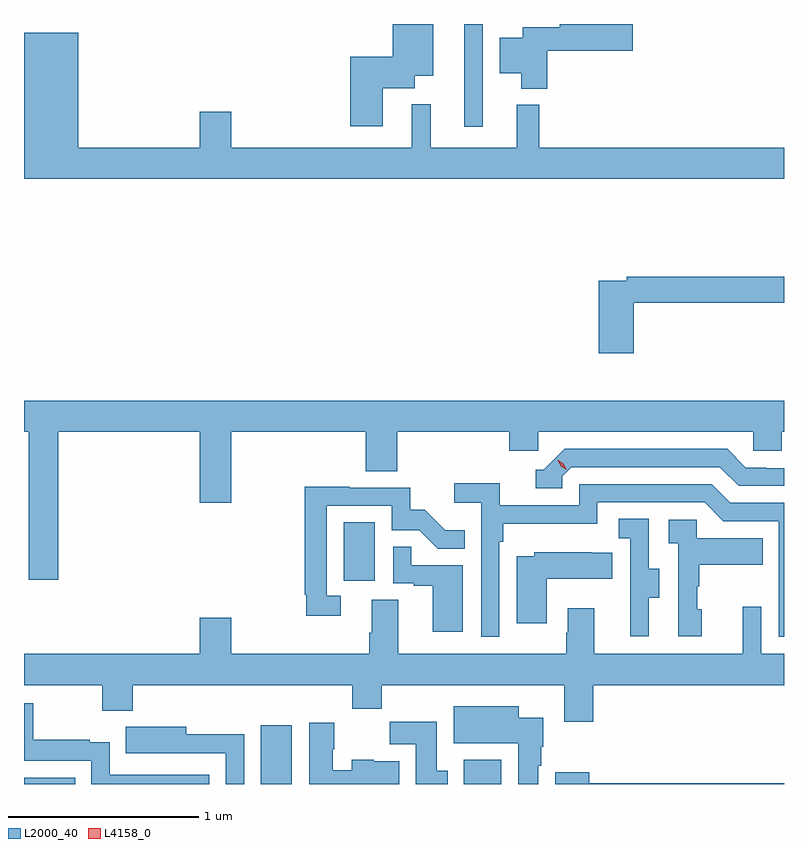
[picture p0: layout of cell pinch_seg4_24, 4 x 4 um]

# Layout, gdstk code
import gdstk
lib = gdstk.Library(unit=1e-6, precision=1e-09)
def R(c, l, rs):  # rectangles x0, y0, x1, y1
    for r in rs: c.add(gdstk.rectangle(r[:2], r[2:], *l))
def P(c, l, *ps):  # polygons
    for p in ps: c.add(gdstk.Polygon(p, *l))
L2000_40 = (2000, 40)
L4158_0 = (4158, 0)

pinch_seg4_24 = lib.new_cell('pinch_seg4_24')
R(pinch_seg4_24, L2000_40, [(1087.158,813.615,1087.427,813.648), (1088.405,813.615,1088.566,813.925), (1089.473,813.615,1089.67,813.742), (1088.84,814.686,1089.004,814.993), (1089.476,817.074,1089.573,817.615)])
P(pinch_seg4_24, L2000_40, [(1089.046,817.277),(1089.214,817.277),(1089.214,817.343),(1089.313,817.343),(1089.313,817.615),(1089.098,817.615),(1089.098,817.442),(1088.876,817.442),(1088.876,817.077),(1089.046,817.077)],
  [(1089.911,817.475),(1090.363,817.475),(1090.363,817.615),(1089.978,817.615),(1089.978,817.597),(1089.782,817.597),(1089.782,817.543),(1089.662,817.543),(1089.662,817.355),(1089.776,817.355),(1089.776,817.274),(1089.911,817.274)],
  [(1091.158,816.964),(1089.869,816.964),(1089.869,817.189),(1089.752,817.189),(1089.752,816.964),(1089.299,816.964),(1089.299,817.192),(1089.2,817.192),(1089.2,816.964),(1088.248,816.964),(1088.248,817.153),(1088.084,817.153),(1088.084,816.964),(1087.444,816.964),(1087.444,817.57),(1087.158,817.57),(1087.158,816.8),(1091.158,816.8)],
  [(1090.367,816.148),(1091.158,816.148),(1091.158,816.284),(1090.33,816.284),(1090.33,816.264),(1090.184,816.264),(1090.184,815.883),(1090.367,815.883)],
  [(1087.337,815.468),(1088.084,815.468),(1088.084,815.094),(1088.248,815.094),(1088.248,815.468),(1088.957,815.468),(1088.957,815.26),(1089.122,815.26),(1089.122,815.468),(1089.713,815.468),(1089.713,815.37),(1089.864,815.37),(1089.864,815.468),(1090.995,815.468),(1090.995,815.37),(1091.145,815.37),(1091.145,815.468),(1091.158,815.468),(1091.158,815.632),(1087.158,815.632),(1087.158,815.468),(1087.184,815.468),(1087.184,814.689),(1087.337,814.689)],
  [(1089.99,815.235),(1090.038,815.283),(1090.821,815.283),(1090.92,815.184),(1091.158,815.184),(1091.158,815.277),(1091.064,815.277),(1091.064,815.28),(1090.957,815.28),(1090.858,815.379),(1090.005,815.379),(1089.894,815.268),(1089.851,815.268),(1089.851,815.172),(1089.99,815.172)],
  [(1089.66,814.889),(1089.68,814.889),(1089.68,814.985),(1090.176,814.985),(1090.176,815.097),(1090.74,815.097),(1090.839,814.998),(1091.13,814.998),(1091.13,814.389),(1091.158,814.389),(1091.158,815.094),(1090.876,815.094),(1090.777,815.193),(1090.08,815.193),(1090.08,815.082),(1089.662,815.082),(1089.662,815.198),(1089.423,815.198),(1089.423,815.096),(1089.564,815.096),(1089.564,814.389),(1089.66,814.389)],
  [(1088.824,814.605),(1088.751,814.605),(1088.751,815.079),(1089.093,815.079),(1089.093,814.95),(1089.237,814.95),(1089.335,814.852),(1089.479,814.852),(1089.479,814.951),(1089.375,814.951),(1089.268,815.058),(1089.192,815.058),(1089.192,815.175),(1088.873,815.175),(1088.873,815.18),(1088.635,815.18),(1088.635,814.612),(1088.643,814.612),(1088.643,814.5),(1088.824,814.5)],
  [(1090.447,814.594),(1090.501,814.594),(1090.501,814.749),(1090.446,814.749),(1090.446,815.012),(1090.287,815.012),(1090.287,814.909),(1090.35,814.909),(1090.35,814.605),(1090.349,814.605),(1090.349,814.392),(1090.447,814.392)],
  [(1090.726,814.536),(1090.701,814.536),(1090.701,814.655),(1090.711,814.655),(1090.711,814.769),(1091.045,814.769),(1091.045,814.909),(1090.698,814.909),(1090.698,815.007),(1090.551,815.007),(1090.551,814.883),(1090.602,814.883),(1090.602,814.392),(1090.726,814.392)],
  [(1089.466,814.767),(1089.197,814.767),(1089.197,814.865),(1089.102,814.865),(1089.102,814.671),(1089.209,814.671),(1089.209,814.659),(1089.308,814.659),(1089.308,814.416),(1089.466,814.416)],
  [(1089.91,814.694),(1090.253,814.694),(1090.253,814.831),(1090.145,814.831),(1090.145,814.834),(1089.843,814.834),(1089.843,814.813),(1089.752,814.813),(1089.752,814.461),(1089.91,814.461)],
  [(1090.154,814.136),(1091.158,814.136),(1091.158,814.3),(1091.037,814.3),(1091.037,814.549),(1090.94,814.549),(1090.94,814.3),(1090.159,814.3),(1090.159,814.54),(1090.019,814.54),(1090.019,814.412),(1090.012,814.412),(1090.012,814.3),(1089.127,814.3),(1089.127,814.586),(1088.987,814.586),(1088.987,814.412),(1088.975,814.412),(1088.975,814.3),(1088.248,814.3),(1088.248,814.489),(1088.084,814.489),(1088.084,814.3),(1087.158,814.3),(1087.158,814.136),(1087.57,814.136),(1087.57,814.001),(1087.73,814.001),(1087.73,814.136),(1088.885,814.136),(1088.885,814.012),(1089.041,814.012),(1089.041,814.136),(1090.001,814.136),(1090.001,813.942),(1090.154,813.942)],
  [(1088.134,813.663),(1087.608,813.663),(1087.608,813.835),(1087.505,813.835),(1087.505,813.847),(1087.207,813.847),(1087.207,814.041),(1087.158,814.041),(1087.158,813.738),(1087.512,813.738),(1087.512,813.615),(1088.134,813.615)],
  [(1089.865,813.71),(1089.88,813.71),(1089.88,813.81),(1089.892,813.81),(1089.892,813.964),(1089.763,813.964),(1089.763,814.024),(1089.419,814.024),(1089.419,813.83),(1089.758,813.83),(1089.758,813.615),(1089.865,813.615)],
  [(1089.388,813.684),(1089.331,813.684),(1089.331,813.942),(1089.082,813.942),(1089.082,813.824),(1089.221,813.824),(1089.221,813.615),(1089.388,813.615)],
  [(1089.133,813.736),(1089,813.736),(1089,813.742),(1088.882,813.742),(1088.882,813.688),(1088.782,813.688),(1088.782,813.798),(1088.79,813.798),(1088.79,813.937),(1088.66,813.937),(1088.66,813.615),(1089.133,813.615)],
  [(1088.316,813.878),(1088.011,813.878),(1088.011,813.916),(1087.693,813.916),(1087.693,813.776),(1087.907,813.776),(1087.907,813.777),(1088.22,813.777),(1088.22,813.615),(1088.316,813.615)],
  [(1091.158,813.62),(1090.132,813.62),(1090.132,813.676),(1089.953,813.676),(1089.953,813.615),(1091.158,813.615)])
P(pinch_seg4_24, L4158_0, [(1090.014,815.269),(1089.983,815.288),(1089.966,815.32),(1089.966,815.321),(1089.966,815.321),(1089.997,815.301),(1090.014,815.269),(1090.014,815.269)])

lib.write_gds('pinch_seg4_24.gds')
